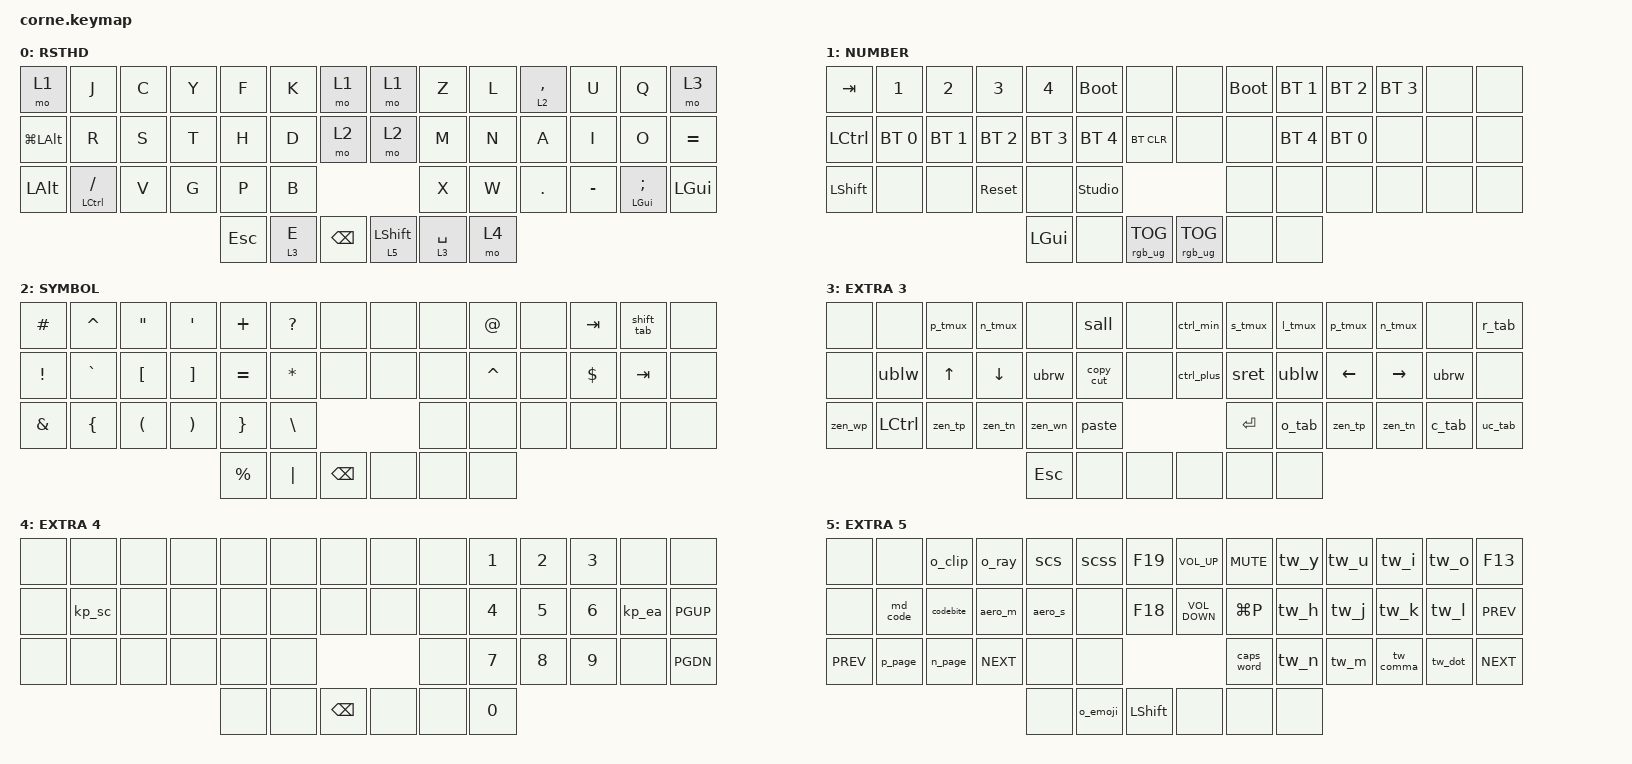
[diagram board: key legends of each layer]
/*
 * Copyright (c) 2020 The ZMK Contributors
 *
 * SPDX-License-Identifier: MIT
 */

#include <behaviors.dtsi>
#include <dt-bindings/zmk/keys.h>
#include <dt-bindings/zmk/bt.h>
#include <dt-bindings/zmk/rgb.h>

#define XXX &none

&sk {
    release-after-ms = <900>;
    quick-release;
};

/ {
    behaviors {
        // MACROS
        ///////////////

        // MACROS: 42

        ublw: ublw {
            compatible = "zmk,behavior-macro";
            #binding-cells = <0>;
            wait-ms = <10>;
            tap-ms = <5>;
            bindings = <
              &kp LG(LA(LEFT))
            >;
        };

        ubrw: ubrw {
            compatible = "zmk,behavior-macro";
            #binding-cells = <0>;
            wait-ms = <10>;
            tap-ms = <5>;
            bindings = <
              &kp LG(LA(RIGHT))
            >;
        };

        // MACROS: Aerospace

        tw_y: tw_y {
            compatible = "zmk,behavior-macro";
            #binding-cells = <0>;
            wait-ms = <10>;
            tap-ms = <5>;
            bindings = <
                &kp LG(Y)
            >;
        };

        tw_u: tw_u {
            compatible = "zmk,behavior-macro";
            #binding-cells = <0>;
            wait-ms = <10>;
            tap-ms = <5>;
            bindings = <
                &kp LG(U)
            >;
        };

        tw_i: tw_i {
            compatible = "zmk,behavior-macro";
            #binding-cells = <0>;
            wait-ms = <10>;
            tap-ms = <5>;
            bindings = <
                &kp LG(I)
            >;
        };

        tw_o: tw_o {
            compatible = "zmk,behavior-macro";
            #binding-cells = <0>;
            wait-ms = <10>;
            tap-ms = <5>;
            bindings = <
                &kp LG(O)
            >;
        };

        tw_h: tw_h {
            compatible = "zmk,behavior-macro";
            #binding-cells = <0>;
            wait-ms = <10>;
            tap-ms = <5>;
            bindings = <
                &kp LG(H)
            >;
        };

        tw_j: tw_j {
            compatible = "zmk,behavior-macro";
            #binding-cells = <0>;
            wait-ms = <10>;
            tap-ms = <5>;
            bindings = <
                &kp LG(J)
            >;
        };

        tw_k: tw_k {
            compatible = "zmk,behavior-macro";
            #binding-cells = <0>;
            wait-ms = <10>;
            tap-ms = <5>;
            bindings = <
                &kp LG(K)
            >;
        };

        tw_l: tw_l {
            compatible = "zmk,behavior-macro";
            #binding-cells = <0>;
            wait-ms = <10>;
            tap-ms = <5>;
            bindings = <
                &kp LG(L)
            >;
        };

        tw_n: tw_n {
            compatible = "zmk,behavior-macro";
            #binding-cells = <0>;
            wait-ms = <10>;
            tap-ms = <5>;
            bindings = <
                &kp LG(N)
            >;
        };

        tw_m: tw_m {
            compatible = "zmk,behavior-macro";
            #binding-cells = <0>;
            wait-ms = <10>;
            tap-ms = <5>;
            bindings = <
                &kp LG(M)
            >;
        };

        tw_comma: tw_comma {
            compatible = "zmk,behavior-macro";
            #binding-cells = <0>;
            wait-ms = <10>;
            tap-ms = <5>;
            bindings = <
                &kp LG(COMMA)
            >;
        };

        tw_dot: tw_dot {
            compatible = "zmk,behavior-macro";
            #binding-cells = <0>;
            wait-ms = <10>;
            tap-ms = <5>;
            bindings = <
                &kp LG(DOT)
            >;
        };

        // MACROS: Basic

        sret: sret {
            compatible = "zmk,behavior-macro";
            #binding-cells = <0>;
            wait-ms = <10>;
            tap-ms = <5>;
            bindings = <&kp LS(RET)>;
        };

        copy_cut: copy_cut {
            compatible = "zmk,behavior-tap-dance";
            #binding-cells = <0>;
            tapping-term-ms = <200>;
            bindings = <&kp LC(C)>, <&kp LC(C) &kp BSPC>;
        };

        paste: paste {
            compatible = "zmk,behavior-macro";
            #binding-cells = <0>;
            wait-ms = <10>;
            tap-ms = <5>;
            bindings = <&kp LC(LS(V))>;
        };              

        sall: sall {
            compatible = "zmk,behavior-macro";
            #binding-cells = <0>;
            wait-ms = <10>;
            tap-ms = <5>;
            bindings = <&kp LC(A)>;
        };              

        p_tmux: p_tmux {
            compatible = "zmk,behavior-macro";
            #binding-cells = <0>;
            wait-ms = <10>;
            tap-ms = <5>;
            bindings = <&kp LC(A) &kp P>;
        };

        n_tmux: n_tmux {
            compatible = "zmk,behavior-macro";
            #binding-cells = <0>;
            wait-ms = <30>;
            tap-ms = <5>;
            bindings = <&kp LC(A) &kp N>;
        };

        s_tmux: s_tmux {
            compatible = "zmk,behavior-macro";
            #binding-cells = <0>;
            wait-ms = <10>;
            tap-ms = <5>;
            bindings = <&kp LC(A) &kp S>;
        };

        l_tmux: l_tmux {
            compatible = "zmk,behavior-macro";
            #binding-cells = <0>;
            wait-ms = <10>;
            tap-ms = <5>;
            bindings = <&kp LC(A) &kp L>;
        };

        o_tab:  o_tab {
            compatible = "zmk,behavior-macro";
            #binding-cells = <0>;
            wait-ms = <10>;
            tap-ms = <5>;
            bindings = <&kp LC(T)>;
        };

        c_tab:  c_tab {
            compatible = "zmk,behavior-macro";
            #binding-cells = <0>;
            wait-ms = <10>;
            tap-ms = <5>;
            bindings = <&kp LC(W)>;
        };

        r_tab:  r_tab {
            compatible = "zmk,behavior-macro";
            #binding-cells = <0>;
            wait-ms = <10>;
            tap-ms = <5>;
            bindings = <&kp LC(R)>;
        };

        uc_tab:  uc_tab {
            compatible = "zmk,behavior-macro";
            #binding-cells = <0>;
            wait-ms = <10>;
            tap-ms = <5>;
            bindings = <&kp LC(LS(T))>;
        };

        zen_tp:  zen_tp {
            compatible = "zmk,behavior-macro";
            #binding-cells = <0>;
            wait-ms = <10>;
            tap-ms = <5>;
            bindings = <&kp LC(LS(TAB))>;
        };

        zen_tn: zen_tn {
            compatible = "zmk,behavior-macro";
            #binding-cells = <0>;
            wait-ms = <10>;
            tap-ms = <5>;
            bindings = <&kp LC(TAB)>;
        };

        zen_wp: zen_wp {
            compatible = "zmk,behavior-macro";
            #binding-cells = <0>;
            wait-ms = <10>;
            tap-ms = <5>;
            bindings = <&kp LC(LS(LA(TAB)))>;
        };

        zen_wn: zen_wn {
            compatible = "zmk,behavior-macro";
            #binding-cells = <0>;
            wait-ms = <10>;
            tap-ms = <5>;
            bindings = <&kp LC(LA(TAB))>;
        };

        shift_tab: shift_tab {
            compatible = "zmk,behavior-macro";
            #binding-cells = <0>;
            wait-ms = <10>;
            tap-ms = <5>;
            bindings = <&kp LS(TAB)>;
        }; 

        p_page: p_page {
            compatible = "zmk,behavior-macro";
            #binding-cells = <0>;
            wait-ms = <10>;
            tap-ms = <5>;
            bindings = <&kp LA(LEFT)>;
        };

        n_page: n_page {
            compatible = "zmk,behavior-macro";
            #binding-cells = <0>;
            wait-ms = <10>;
            tap-ms = <5>;
            bindings = <&kp LA(RIGHT)>;
        };

        o_ray: o_ray {
            compatible = "zmk,behavior-macro";
            #binding-cells = <0>;
            wait-ms = <10>;
            tap-ms = <5>;
            bindings = <&kp LG(D)>;
        };

        o_clip: o_clip {
            compatible = "zmk,behavior-macro";
            #binding-cells = <0>;
            wait-ms = <10>;
            tap-ms = <5>;
            bindings = <&kp LG(C)>;
        };

        o_emoji: o_emoji {
            compatible = "zmk,behavior-macro";
            #binding-cells = <0>;
            wait-ms = <10>;
            tap-ms = <5>;
            bindings = <&kp LG(E)>;
        };

        scss: scss {
            compatible = "zmk,behavior-macro";
            #binding-cells = <0>;
            wait-ms = <10>;
            tap-ms = <5>;
            bindings = <&kp LG(LS(N4))>;
        };

        scs: scs {
            compatible = "zmk,behavior-macro";
            #binding-cells = <0>;
            wait-ms = <10>;
            tap-ms = <5>;
            bindings = <&kp LG(LS(N3))>;
        };

        aero_s: aero_s {
            compatible = "zmk,behavior-macro";
            #binding-cells = <0>;
            wait-ms = <10>;
            tap-ms = <5>;
            bindings = <&kp LA(FSLH)>;
        };

        aero_m: aero_m {
            compatible = "zmk,behavior-macro";
            #binding-cells = <0>;
            wait-ms = <10>;
            tap-ms = <5>;
            bindings = <&kp LA(DOT)>;
        };

        md_code: md_code {
          compatible = "zmk,behavior-macro";
          #binding-cells = <0>;
          wait-ms = <14>;
          tap-ms = <5>;
          bindings = <
              &kp LS(ENTER)
              &kp GRAVE
              &kp GRAVE
              &kp GRAVE
              &kp LS(ENTER)
              &kp LC(V)
              &kp DOWN
              &kp LS(ENTER)
              &kp GRAVE
              &kp GRAVE
              &kp GRAVE
              &kp LS(ENTER)
          >;
        };

        codebite: codebite {
          compatible = "zmk,behavior-macro";
          #binding-cells = <0>;
          wait-ms = <14>;
          tap-ms = <5>;
          bindings = <
              &kp GRAVE
              &kp LC(V)
              &kp GRAVE
              &kp SPACE
          >;
        };

        caps_word {
            compatible = "zmk,behavior-caps-word";
            #binding-cells = <0>;
            continue-list = <
                UNDERSCORE
                MINUS
                N1 N2 N3 N4 N5 N6 N7 N8 N9 N0
                BSPC DEL
                LEFT RIGHT UP DOWN
            >;
        };

        kp_ea: kp_ea {
            compatible = "zmk,behavior-macro";
            #binding-cells = <0>;
            wait-ms = <10>;
            tap-ms = <5>;
            bindings = <&kp E &kp A>;
        };

        kp_sc: kp_sc {
            compatible = "zmk,behavior-macro";
            #binding-cells = <0>;
            wait-ms = <10>;
            tap-ms = <5>;
            bindings = <&kp S &kp C>;
        };

        ctrl_min: ctrl_min {
            compatible = "zmk,behavior-macro";
            #binding-cells = <0>;
            wait-ms = <10>;
            tap-ms = <5>;
            bindings = <&kp LC(MINUS)>;
        };

        ctrl_plus: ctrl_plus {
            compatible = "zmk,behavior-macro";
            #binding-cells = <0>;
            wait-ms = <10>;
            tap-ms = <5>;
            bindings = <&kp LC(PLUS)>;
        };


        // HOLD TAPS
        ///////////////

        htap: htap {
            compatible = "zmk,behavior-hold-tap";
            #binding-cells = <2>;
            flavor = "tap-preferred";
            tapping-term-ms = <180>;
            bindings = <&mo>, <&kp>;
        };

        ht_kp: ht_kp {
            compatible = "zmk,behavior-hold-tap";
            #binding-cells = <2>;
            flavor = "hold-preferred";
            tapping-term-ms = <180>;
            bindings = <&kp>, <&kp>;
        };

        ht_kp2: ht_kp2 {
            compatible = "zmk,behavior-hold-tap";
            #binding-cells = <2>;
            flavor = "hold-preferred";
            tapping-term-ms = <180>;
            bindings = <&kp>, <&kp>;
            hold-trigger-key-positions = <0 1 2 3 4 5 6 7 8 9 10 11 12 13 15 16 17 18 19 20 21 22 23 24 25 26 27 28 29 31 32 33 34 35 36 37 38 39 40 41 42 43 44 45>;
        };

        ht_sk: ht_sk {
            compatible = "zmk,behavior-hold-tap";
            #binding-cells = <2>;
            flavor = "tap-preferred";
            tapping-term-ms = <180>;
            bindings = <&mo>, <&sk>;
        };
    };
};

/ {
    combos {
        compatible = "zmk,combos";
        vg {
            timeout-ms = <100>;
            key-positions = <30 31>;
            layers = <0>;
            bindings = <&mo 4>;
        };
        slv {
            timeout-ms = <100>;
            key-positions = <29 30>;
            layers = <0>;
            bindings = <&mo 2>;
        };
        ctrlshft {
            timeout-ms = <100>;
            key-positions = <14 29>;
            layers = <0>;
            bindings = <&kp LSHFT &kp LCTRL>;
        };
    };
};

/ {
    chosen {
        zmk,physical-layout = &default_layout;
    };
};

#define ht_suse     &ht_kp LGUI SEMI
#define ht_5sh      &ht_sk 5 LSHFT
#define ht_ctsl     &ht_kp2 LCTRL FSLH

#define vold        &kp C_VOLUME_DOWN
#define volu        &kp C_VOLUME_UP
#define volm        &kp C_MUTE
#define playpause   &kp LG(P)

#define ctrlsha     &kp F13
#define sfinder     &kp F14
#define brid        &kp F18
#define briu        &kp F19

#define play_p        &kp C_PREV
#define play_n        &kp C_NEXT

/ {
    keymap {
        compatible = "zmk,keymap";

        default_layer {                                                                                      
            display-name = "RSTHD";
            bindings = <
            //                                                                                            
            //╭─────────────┬─────────────┬─────────────┬─────────────┬─────────────┬─────────────┬─────────────╮       ╭─────────────┬─────────────┬─────────────┬─────────────┬─────────────┬─────────────┬─────────────╮
               &mo 1         &kp J         &kp C         &kp Y         &kp F         &kp K         &mo 1                 &mo 1         &kp Z         &kp L         &htap 2 COMMA &kp U         &kp Q         &mo 3
            //├─────────────┼─────────────┼─────────────┼─────────────┼─────────────┼─────────────┼─────────────┤       ├─────────────┼─────────────┼─────────────┼─────────────┼─────────────┼─────────────┼─────────────┤
               &kp LG(LALT)  &kp R         &kp S         &kp T         &kp H         &kp D         &mo 2                 &mo 2         &kp M         &kp N         &kp A         &kp I         &kp O         &kp EQUAL
            //├─────────────┼─────────────┼─────────────┼─────────────┼─────────────┼─────────────┼─────────────╯       ╰─────────────┼─────────────┼─────────────┼─────────────┼─────────────┼─────────────┼─────────────┤
               &kp LALT      ht_ctsl       &kp V         &kp G         &kp P         &kp B                                             &kp X         &kp W         &kp DOT       &kp MINUS     ht_suse       &kp LGUI
            //╰─────────────┴─────────────┴─────────────┴─────────────┼─────────────┼─────────────┼─────────────╮       ╭─────────────┼─────────────┼─────────────┼─────────────┴─────────────┴─────────────┴─────────────╯
                                                                       &kp ESC       &htap 3 E     &kp BSPC              ht_5sh        &htap 3 SPACE &mo 4                                                              
            //                                                        ╰─────────────┴─────────────┴─────────────╯       ╰─────────────┴─────────────┴─────────────╯
            >;                                                                                                                   
        };                                                                            

        lower_layer {
            display-name = "NUMBER";
            bindings = <
            //
            //╭─────────────┬─────────────┬─────────────┬─────────────┬─────────────┬─────────────┬─────────────╮       ╭─────────────┬─────────────┬─────────────┬─────────────┬─────────────┬─────────────┬─────────────╮
               &kp TAB       &kp N1        &kp N2        &kp N3        &kp N4        &bootloader   XXX                   XXX           &bootloader   &bt BT_SEL 1  &bt BT_SEL 2  &bt BT_SEL 3  XXX           XXX
            //├─────────────┼─────────────┼─────────────┼─────────────┼─────────────┼─────────────┼─────────────┤       ├─────────────┼─────────────┼─────────────┼─────────────┼─────────────┼─────────────┼─────────────┤
               &kp LCTRL     &bt BT_SEL 0  &bt BT_SEL 1  &bt BT_SEL 2  &bt BT_SEL 3  &bt BT_SEL 4  &bt BT_CLR            XXX           XXX           &bt BT_SEL 4  &bt BT_SEL 0  XXX           XXX           XXX   
            //├─────────────┼─────────────┼─────────────┼─────────────┼─────────────┼─────────────┼─────────────╯       ╰─────────────┼─────────────┼─────────────┼─────────────┼─────────────┼─────────────┼─────────────┤
               &kp LSHFT     XXX           XXX           &sys_reset    XXX           &studio_unlock                                    XXX           XXX           XXX           XXX           XXX           XXX   
            //╰─────────────┴─────────────┴─────────────┴─────────────┼─────────────┼─────────────┼─────────────╮       ╭─────────────┼─────────────┼─────────────┼─────────────┴─────────────┴─────────────┴─────────────╯
                                                                       &kp LGUI      XXX           &rgb_ug RGB_TOG       &rgb_ug RGB_TOG XXX           XXX
            //                                                        ╰─────────────┴─────────────┴─────────────╯       ╰─────────────┴─────────────┴─────────────╯
            >;
        };

        symbol_layer {
            display-name = "SYMBOL";
            bindings = <
            //
            //╭─────────────┬─────────────┬─────────────┬─────────────┬─────────────┬─────────────┬─────────────╮       ╭─────────────┬─────────────┬─────────────┬─────────────┬─────────────┬─────────────┬─────────────╮
               &kp HASH      &kp CARET     &kp DQT       &kp SQT       &kp PLUS      &kp QMARK     XXX                   XXX           XXX           &kp AT        XXX           &kp TAB       &shift_tab    XXX
            //├─────────────┼─────────────┼─────────────┼─────────────┼─────────────┼─────────────┼─────────────┤       ├─────────────┼─────────────┼─────────────┼─────────────┼─────────────┼─────────────┼─────────────┤
               &kp EXCL      &kp GRAVE     &kp LBKT      &kp RBKT      &kp EQUAL     &kp STAR      XXX                   XXX           XXX           &kp CARET     XXX           &kp DLLR      &kp TAB       XXX
            //├─────────────┼─────────────┼─────────────┼─────────────┼─────────────┼─────────────┼─────────────╯       ╰─────────────┼─────────────┼─────────────┼─────────────┼─────────────┼─────────────┼─────────────┤
               &kp AMPS      &kp LBRC      &kp LPAR      &kp RPAR      &kp RBRC      &kp BSLH                                          XXX           XXX           XXX           XXX           XXX           XXX
            //╰─────────────┴─────────────┴─────────────┴─────────────┼─────────────┼─────────────┼─────────────╮       ╭─────────────┼─────────────┼─────────────┼─────────────┴─────────────┴─────────────┴─────────────╯
                                                                       &kp PRCNT     &kp PIPE      &kp BSPC              XXX           XXX           XXX
            //                                                        ╰─────────────┴─────────────┴─────────────╯       ╰─────────────┴─────────────┴─────────────╯
            >;
        };
                                                                                                                                                        
        extra_layer_3 {
            display-name = "EXTRA 3";                                                                                                                                   
            bindings = <
            //
            //╭─────────────┬─────────────┬─────────────┬─────────────┬─────────────┬─────────────┬─────────────╮       ╭─────────────┬─────────────┬─────────────┬─────────────┬─────────────┬─────────────┬─────────────╮
               XXX           XXX           &p_tmux       &n_tmux       XXX           &sall         XXX                   &ctrl_min     &s_tmux       &l_tmux       &p_tmux       &n_tmux       XXX           &r_tab
            //├─────────────┼─────────────┼─────────────┼─────────────┼─────────────┼─────────────┼─────────────┤       ├─────────────┼─────────────┼─────────────┼─────────────┼─────────────┼─────────────┼─────────────┤
               XXX           &ublw         &kp UP        &kp DOWN      &ubrw         &copy_cut     XXX                   &ctrl_plus    &sret         &ublw         &kp LEFT      &kp RIGHT     &ubrw         XXX
            //├─────────────┼─────────────┼─────────────┼─────────────┼─────────────┼─────────────┼─────────────╯       ╰─────────────┼─────────────┼─────────────┼─────────────┼─────────────┼─────────────┼─────────────┤
               &zen_wp       &kp LCTRL     &zen_tp       &zen_tn       &zen_wn       &paste                                            &kp RET       &o_tab        &zen_tp        &zen_tn        &c_tab        &uc_tab
            //╰─────────────┴─────────────┴─────────────┴─────────────┼─────────────┼─────────────┼─────────────╮       ╭─────────────┼─────────────┼─────────────┼─────────────┴─────────────┴─────────────┴─────────────╯
                                                                       &kp ESC       XXX           XXX                   XXX           XXX           XXX
            //                                                        ╰─────────────┴─────────────┴─────────────╯       ╰─────────────┴─────────────┴─────────────╯
            >;
        };

        extra_layer_4 {
            display-name = "EXTRA 4";
            bindings = <
            //
            //╭─────────────┬─────────────┬─────────────┬─────────────┬─────────────┬─────────────┬─────────────╮       ╭─────────────┬─────────────┬─────────────┬─────────────┬─────────────┬─────────────┬─────────────╮
               XXX           XXX           XXX           XXX           XXX           XXX           XXX                   XXX           XXX           &kp N1        &kp N2        &kp N3        XXX           XXX
            //├─────────────┼─────────────┼─────────────┼─────────────┼─────────────┼─────────────┼─────────────┤       ├─────────────┼─────────────┼─────────────┼─────────────┼─────────────┼─────────────┼─────────────┤
               XXX           &kp_sc        XXX           XXX           XXX           XXX           XXX                   XXX           XXX           &kp N4        &kp N5        &kp N6        &kp_ea        &kp PGUP
            //├─────────────┼─────────────┼─────────────┼─────────────┼─────────────┼─────────────┼─────────────╯       ╰─────────────┼─────────────┼─────────────┼─────────────┼─────────────┼─────────────┼─────────────┤
               XXX           XXX           XXX           XXX           XXX           XXX                                               XXX           &kp N7        &kp N8        &kp N9        XXX           &kp PGDN
            //╰─────────────┴─────────────┴─────────────┴─────────────┼─────────────┼─────────────┼─────────────╮       ╭─────────────┼─────────────┼─────────────┼─────────────┴─────────────┴─────────────┴─────────────╯
                                                                       XXX           XXX           &kp BSPC              XXX           XXX           &kp N0
            //                                                        ╰─────────────┴─────────────┴─────────────╯       ╰─────────────┴─────────────┴─────────────╯
            >;                                                                                                                                                                              
        };

        extra_layer_5 {
            display-name = "EXTRA 5";
            bindings = <
            //
            //╭─────────────┬─────────────┬─────────────┬─────────────┬─────────────┬─────────────┬─────────────╮       ╭─────────────┬─────────────┬─────────────┬─────────────┬─────────────┬─────────────┬─────────────╮
               XXX           XXX           &o_clip       &o_ray        &scs          &scss         briu                  volu          volm          &tw_y         &tw_u         &tw_i         &tw_o         ctrlsha
            //├─────────────┼─────────────┼─────────────┼─────────────┼─────────────┼─────────────┼─────────────┤       ├─────────────┼─────────────┼─────────────┼─────────────┼─────────────┼─────────────┼─────────────┤
               XXX           &md_code      &codebite     &aero_m       &aero_s       XXX           brid                  vold          playpause     &tw_h         &tw_j         &tw_k         &tw_l         play_p
            //├─────────────┼─────────────┼─────────────┼─────────────┼─────────────┼─────────────┼─────────────╯       ╰─────────────┼─────────────┼─────────────┼─────────────┼─────────────┼─────────────┼─────────────┤
               play_p        &p_page       &n_page       play_n        XXX           XXX                                               &caps_word    &tw_n         &tw_m         &tw_comma     &tw_dot       play_n
            //╰─────────────┴─────────────┴─────────────┴─────────────┼─────────────┼─────────────┼─────────────╮       ╭─────────────┼─────────────┼─────────────┼─────────────┴─────────────┴─────────────┴─────────────╯
                                                                       XXX           &o_emoji      &kp LSHFT             XXX           XXX           XXX
            //                                                        ╰─────────────┴─────────────┴─────────────╯       ╰─────────────┴─────────────┴─────────────╯
            >;
        };
    };
};
